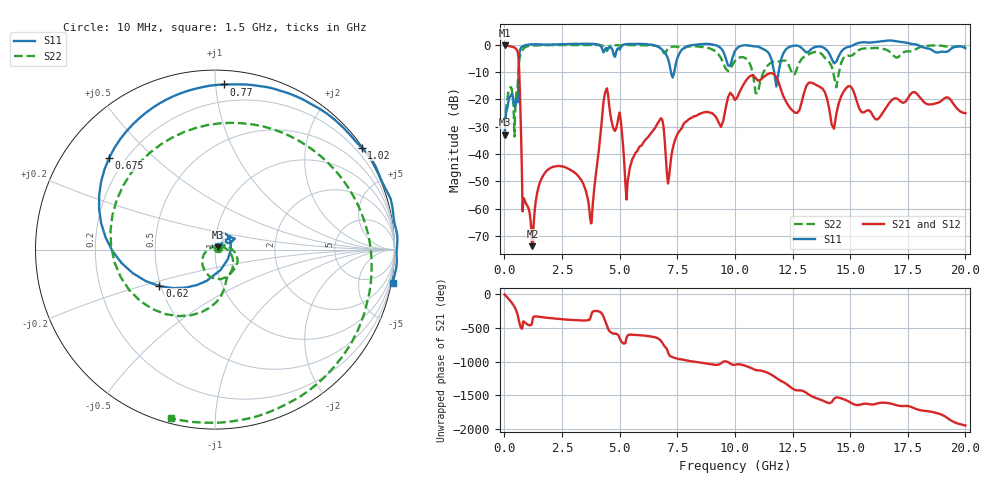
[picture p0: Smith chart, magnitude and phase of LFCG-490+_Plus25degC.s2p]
! Mini-Circuits
! S2P DATA File Format
! Type: LOW PASS FILTER
! Model: LFCG-490+
! All S Parameters are in dB deg format
! TEST CONDITIONS: INPUT POWER = 0 dBm @ Temperature = +25 deg C
# MHz S dB R 50
!Frequency  S11 dB  S11 DEG  S21 dB  S21 DEG  S12 dB  S12 DEG  S22 dB  S22 DEG
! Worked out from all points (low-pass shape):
!   460 points, 10 MHz to 20 GHz, reference 50 ohm
!   highest |S21| = -0.28 dB at 13 MHz (marker M1); lowest = -73.7 dB at 1.22 GHz (marker M2)
!   |S21| within 3 dB of the highest: start of sweep to 592.6 MHz
!   lowest |S11| = -32.9 dB at 10 MHz (marker M3), VSWR 1.05, Z = 51.9 + j1.33 ohm
!   |S11| at or under -10 dB: start of sweep to 614.8 MHz; 7.226 GHz to 7.368 GHz (141.4 MHz wide, 1.94 % of centre); 11.7 GHz to 11.9 GHz (194.4 MHz wide, 1.65 % of centre)
!   |S22| runs from -34.0 to -0.1 dB; largest |S21 - S12| = 0.00093
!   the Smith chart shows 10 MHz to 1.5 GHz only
!   S11 on the Smith chart (normalised r, x): 10 MHz: 1.04, +0.03; 620 MHz: 0.49, -0.23; 675 MHz: 0.14, +0.37; 770 MHz: 0.09, +1.05; 1.02 GHz: 0.03, +3.19; 1.5 GHz: -1, -11
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10  -32.94 34.6  -0.29 -3.8  -0.29 -3.7  -34.03 30.7
13  -32.75 25.7  -0.28 -4.8  -0.28 -4.8  -32.94 27.6
400  -20.89 24.4  -0.93 -165.1  -0.93 -165.1  -23.22 -156.5
530  -19.53 58.4  -1.78 103.7  -1.79 103.7  -16.87 -47.3
620  -8.62 -146.8  -5.61 -12.9  -5.61 -12.9  -8.21 -109.9
675  -2.15 139.1  -17.55 -96.4  -17.55 -96.4  -4.25 153.2
770  -0.71 86.8  -51.43 -147.0  -51.42 -147.3  -2.23 48.1
1020  -0.04 34.8  -59.26 -90.5  -59.23 -90.9  -0.58 -48.8
1220  0.12 12.0  -73.66 -24.9  -73.80 -24.6  -0.36 -79.9
1500  0.08 -10.7  -51.53 27.2  -51.52 27.2  -0.26 -104.6
3360  0.31 -84.7  -49.77 -27.2  -49.77 -27.5  -0.10 -157.2
3760  0.28 -94.5  -65.33 40.6  -65.63 42.3  -0.11 -162.8
4400  -1.25 -100.4  -16.86 -54.2  -16.86 -54.2  -1.50 -175.1
5350  0.25 -103.3  -49.63 108.7  -49.61 108.7  -0.16 176.4
6700  -0.84 -153.0  -28.11 57.2  -28.11 57.2  -0.80 136.3
7100  -5.21 155.4  -50.75 -141.9  -50.75 -141.8  -1.47 141.4
7500  -5.07 -44.5  -32.91 125.6  -32.91 125.5  -0.77 121.4
9100  -0.11 -156.5  -25.66 35.9  -25.68 35.8  -2.13 33.1
10100  -1.23 -148.1  -19.29 41.3  -19.30 41.2  -5.10 120.2
13400  -1.13 163.4  -14.14 -83.1  -14.16 -83.2  -2.80 175.1
16700  1.53 131.6  -21.29 -176.9  -21.30 -177.0  -2.49 133.6
20000  -1.31 95.3  -25.04 -145.8  -25.06 -145.8  -0.48 145.7
